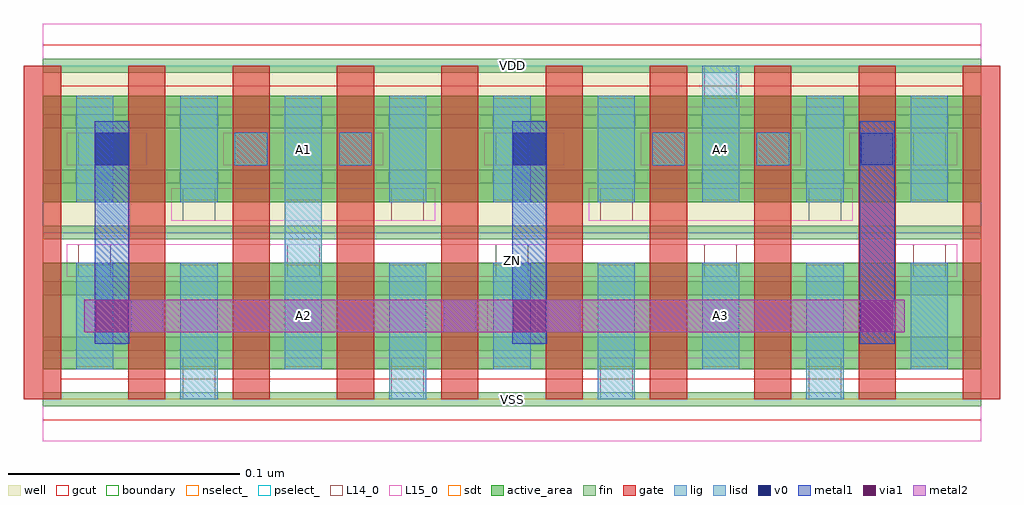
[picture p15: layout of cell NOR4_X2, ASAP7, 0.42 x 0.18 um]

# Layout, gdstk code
import gdstk
lib = gdstk.Library(unit=1e-6, precision=2.5e-10)
def R(c, l, rs):  # rectangles x0, y0, x1, y1
    for r in rs: c.add(gdstk.rectangle(r[:2], r[2:], *l))
def A(c, l, x, y, w, h, nx, ny, dx, dy):  # array of equal rectangles
    R(c, l, [(x+i*dx, y+j*dy, x+i*dx+w, y+j*dy+h) for i in range(nx) for j in range(ny)])
def P(c, l, *ps):  # polygons
    for p in ps: c.add(gdstk.Polygon(p, *l))
well = (1, 0)
fin = (2, 0)
gate = (7, 0)
gcut = (10, 0)
active_area = (11, 0)
nselect_ = (12, 0)
pselect_ = (13, 0)
L14_0 = (14, 0)
L15_0 = (15, 0)
lig = (16, 0)
lisd = (17, 0)
v0 = (18, 0)
metal1 = (19, 0)
metal2 = (20, 0)
via1 = (21, 0)
sdt = (88, 0)
boundary = (100, 0)

nor4_x2 = lib.new_cell('NOR4_X2')
R(nor4_x2, well, [(0,0.072,0.405,0.144)])
A(nor4_x2, fin, 0, -0.003, 0.405, 0.006, 1, 7, 0, 0.024)
A(nor4_x2, gate, -0.008, 0, 0.016, 0.144, 10, 1, 0.045, 0)
P(nor4_x2, gcut, [(0,-0.009),(0,0),(-0.008,0),(-0.008,0.135),(0.008,0.135),(0.008,0.009),(0.397,0.009),(0.397,0.135),(-0.008,0.135),(-0.008,0.144),(0,0.144),(0,0.153),(0.405,0.153),(0.405,0.144),(0.413,0.144),(0.413,0),(0.405,0),(0.405,-0.009)])
R(nor4_x2, active_area, [(0,0.013,0.405,0.059), (0,0.085,0.405,0.131)])
R(nor4_x2, nselect_, [(0,0,0.405,0.072)])
R(nor4_x2, pselect_, [(0,0.072,0.405,0.144)])
A(nor4_x2, L14_0, 0.0605, 0, 0.014, 0.018, 4, 1, 0.09, 0)
A(nor4_x2, L14_0, 0.0155, 0.053, 0.014, 0.014, 5, 1, 0.09, 0)
A(nor4_x2, L14_0, 0.0605, 0.077, 0.014, 0.014, 4, 1, 0.09, 0)
A(nor4_x2, L14_0, 0.128, 0.101, 0.014, 0.014, 3, 1, 0.0675, 0)
R(nor4_x2, L14_0, [(0.038,0.029,0.052,0.043), (0.173,0.029,0.187,0.043), (0.218,0.029,0.232,0.043), (0.353,0.029,0.367,0.043), (0.0155,0.101,0.0295,0.115), (0.083,0.101,0.097,0.115), (0.308,0.101,0.322,0.115), (0.3755,0.101,0.3895,0.115), (0.2855,0.126,0.2995,0.144)])
R(nor4_x2, L15_0, [(0,-0.018,0.405,0.018), (0.033,0.029,0.192,0.043), (0.213,0.029,0.372,0.043), (0.0105,0.053,0.3945,0.067), (0.0555,0.077,0.1695,0.091), (0.2355,0.077,0.3495,0.091), (0.0105,0.101,0.045,0.115), (0.078,0.101,0.147,0.115), (0.1905,0.101,0.225,0.115), (0.258,0.101,0.327,0.115), (0.348,0.101,0.3945,0.115), (0,0.126,0.405,0.162)])
R(nor4_x2, lig, [(0.038,0.029,0.052,0.043), (0.173,0.029,0.187,0.043), (0.218,0.029,0.232,0.043), (0.353,0.029,0.367,0.043), (0.083,0.101,0.097,0.115), (0.128,0.101,0.142,0.115), (0.263,0.101,0.277,0.115), (0.308,0.101,0.322,0.115)])
A(nor4_x2, lisd, 0.0595, 0, 0.016, 0.059, 4, 1, 0.09, 0)
A(nor4_x2, lisd, 0.1945, 0.013, 0.016, 0.046, 3, 1, 0.09, 0)
A(nor4_x2, lisd, 0.1495, 0.085, 0.016, 0.046, 3, 1, 0.045, 0)
R(nor4_x2, lisd, [(0.0145,0.013,0.0305,0.059), (0.1045,0.013,0.1205,0.131), (0.0145,0.085,0.0305,0.131), (0.0595,0.085,0.0755,0.131), (0.2845,0.085,0.3005,0.144), (0.3295,0.085,0.3455,0.131), (0.3745,0.085,0.3905,0.131)])
R(nor4_x2, v0, [(0.023,0.101,0.037,0.115), (0.203,0.101,0.217,0.115), (0.353,0.101,0.367,0.115)])
R(nor4_x2, metal1, [(0.0225,0.024,0.0375,0.12), (0.2025,0.024,0.2175,0.12), (0.3525,0.024,0.3675,0.12)])
R(nor4_x2, metal2, [(0.018,0.029,0.372,0.043)])
R(nor4_x2, via1, [(0.023,0.029,0.037,0.043), (0.203,0.029,0.217,0.043), (0.353,0.029,0.367,0.043)])
A(nor4_x2, sdt, 0.0145, 0.014, 0.016, 0.044, 9, 2, 0.045, 0.072)
R(nor4_x2, boundary, [(0,0,0.405,0.144)])
nor4_x2.add(gdstk.Label('A2', (0.1125,0.036), layer=15, texttype=251))
nor4_x2.add(gdstk.Label('VSS', (0.2025,0), layer=15, texttype=251))
nor4_x2.add(gdstk.Label('VDD', (0.2025,0.144), layer=15, texttype=251))
nor4_x2.add(gdstk.Label('A4', (0.2925,0.108), layer=15, texttype=251))
nor4_x2.add(gdstk.Label('VSS', (0.2025,0), layer=15, texttype=251))
nor4_x2.add(gdstk.Label('VDD', (0.2025,0.144), layer=15, texttype=251))
nor4_x2.add(gdstk.Label('ZN', (0.2025,0.06), layer=15, texttype=251))
nor4_x2.add(gdstk.Label('VSS', (0.2025,0), layer=15, texttype=251))
nor4_x2.add(gdstk.Label('VDD', (0.2025,0.144), layer=15, texttype=251))
nor4_x2.add(gdstk.Label('A3', (0.2925,0.036), layer=15, texttype=251))
nor4_x2.add(gdstk.Label('VSS', (0.2025,0), layer=15, texttype=251))
nor4_x2.add(gdstk.Label('VDD', (0.2025,0.144), layer=15, texttype=251))
nor4_x2.add(gdstk.Label('A1', (0.1125,0.108), layer=15, texttype=251))
nor4_x2.add(gdstk.Label('VSS', (0.2025,0), layer=15, texttype=251))
nor4_x2.add(gdstk.Label('VDD', (0.2025,0.144), layer=15, texttype=251))
nor4_x2.add(gdstk.Label('VSS', (0.2025,0), layer=3, texttype=251))
nor4_x2.add(gdstk.Label('VSS', (0.2025,0), layer=3, texttype=251))
nor4_x2.add(gdstk.Label('VSS', (0.2025,0), layer=3, texttype=251))
nor4_x2.add(gdstk.Label('VSS', (0.2025,0), layer=3, texttype=251))
nor4_x2.add(gdstk.Label('VSS', (0.2025,0), layer=3, texttype=251))
nor4_x2.add(gdstk.Label('VDD', (0.2025,0.144), layer=1, texttype=251))
nor4_x2.add(gdstk.Label('VDD', (0.2025,0.144), layer=1, texttype=251))
nor4_x2.add(gdstk.Label('VDD', (0.2025,0.144), layer=1, texttype=251))
nor4_x2.add(gdstk.Label('VDD', (0.2025,0.144), layer=1, texttype=251))
nor4_x2.add(gdstk.Label('VDD', (0.2025,0.144), layer=1, texttype=251))

lib.write_gds('NOR4_X2.gds')
